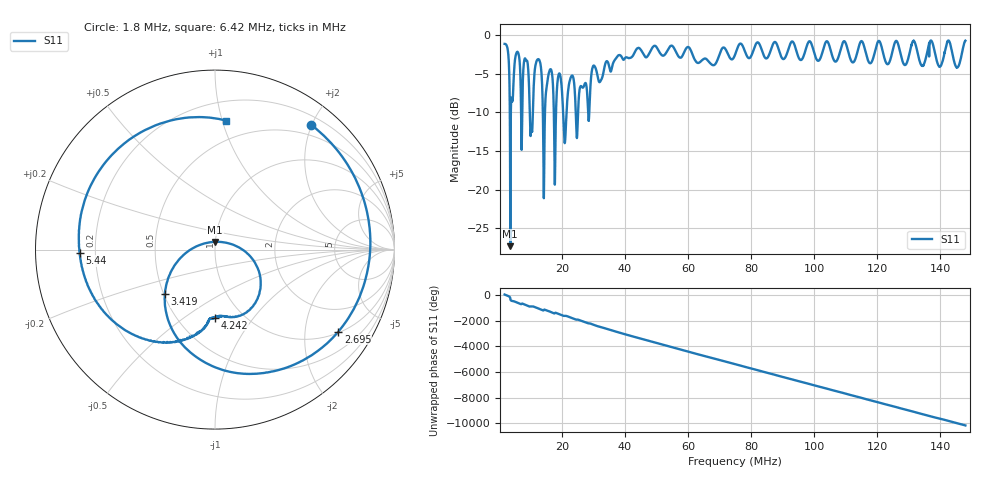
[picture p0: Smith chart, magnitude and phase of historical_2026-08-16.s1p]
! Calibrated high-resolution NanoVNA antenna measurement
# Hz S RI R 50
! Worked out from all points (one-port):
!   40001 points, 1.8 MHz to 148 MHz, reference 50 ohm
!   lowest |S11| = -27.3 dB at 3.606 MHz (marker M1), VSWR 1.09, Z = 49.8 + j4.3 ohm
!   |S11| at or under -10 dB: 9.77 MHz to 10.77 MHz (997.1 kHz wide, 9.71 % of centre); 20.36 MHz to 21.45 MHz (1.087 MHz wide, 5.2 % of centre); 24.37 MHz to 25.11 MHz (731.7 kHz wide, 2.96 % of centre)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
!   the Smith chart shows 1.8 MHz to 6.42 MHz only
!   S11 on the Smith chart (normalised r, x): 1.8 MHz: 0.33, +1.99; 2.695 MHz: 1.04, -2.98; 3.419 MHz: 0.51, -0.29; 4.242 MHz: 0.75, -0.66; 5.44 MHz: 0.14, -0.01; 6.42 MHz: 0.34, +1.03
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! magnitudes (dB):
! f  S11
! 1.8 MHz  -1.1
! 2.695 MHz  -1.7
! 3.419 MHz  -8.5
! 3.606 MHz  -27.3
! 4.242 MHz  -8.4
! 5.44 MHz  -2.5
! 6.42 MHz  -2.8
! 7.345 MHz  -10.8
! 8.741 MHz  -3.3
! 10.27 MHz  -11.9
! 12.33 MHz  -3.1
! 14.37 MHz  -16.4
! 16.16 MHz  -4.5
! 17.7 MHz  -18.9
! 19.05 MHz  -5.0
! 20.07 MHz  -7.7
! 20.96 MHz  -13.9
! 22.94 MHz  -5.3
! 24.82 MHz  -13.0
! 30.03 MHz  -3.9
! 38.35 MHz  -2.6
! 56.62 MHz  -2.5
! 74.9 MHz  -2.5
! 93.17 MHz  -0.8
! 111.5 MHz  -3.0
! 129.7 MHz  -3.2
! 145.4 MHz  -4.2
! 148 MHz  -0.7
